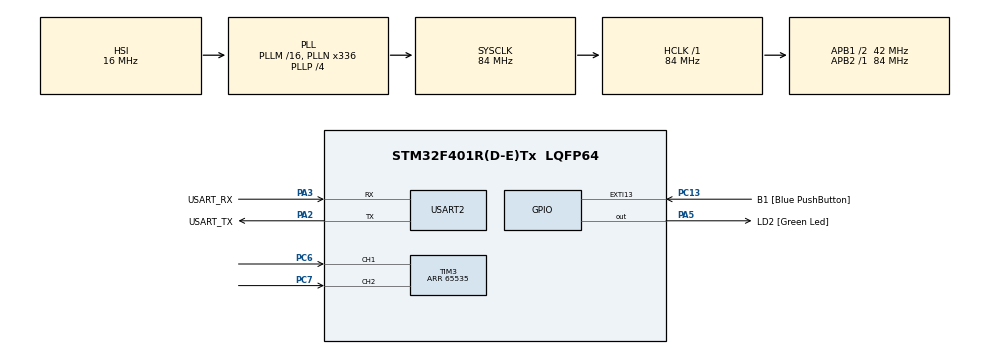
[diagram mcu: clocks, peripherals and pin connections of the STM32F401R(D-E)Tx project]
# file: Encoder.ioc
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Mcu.Family=STM32F4
Mcu.Name=STM32F401R(D-E)Tx
Mcu.Package=LQFP64
NVIC.PriorityGroup=NVIC_PRIORITYGROUP_0
NVIC.TIM3_IRQn=true\:0\:0\:false\:false\:true\:true\:true
PA13.GPIO_Label=TMS
PA13.Mode=Serial_Wire
PA13.Signal=SYS_JTMS-SWDIO
PA14.GPIO_Label=TCK
PA14.Mode=Serial_Wire
PA14.Signal=SYS_JTCK-SWCLK
PA2.GPIO_Label=USART_TX
PA2.GPIO_Mode=GPIO_MODE_AF_PP
PA2.GPIO_PuPd=GPIO_NOPULL
PA2.GPIO_Speed=GPIO_SPEED_FREQ_LOW
PA2.Mode=Asynchronous
PA2.Signal=USART2_TX
PA3.GPIO_Label=USART_RX
PA3.GPIO_Mode=GPIO_MODE_AF_PP
PA3.GPIO_PuPd=GPIO_NOPULL
PA3.GPIO_Speed=GPIO_SPEED_FREQ_LOW
PA3.Mode=Asynchronous
PA3.Signal=USART2_RX
PA5.GPIO_Label=LD2 [Green Led]
PA5.GPIO_Mode=GPIO_MODE_OUTPUT_PP
PA5.GPIO_PuPd=GPIO_NOPULL
PA5.GPIO_Speed=GPIO_SPEED_FREQ_LOW
PA5.Signal=GPIO_Output
PB3.GPIO_Label=SWO
PB3.Signal=SYS_JTDO-SWO
PC13-ANTI_TAMP.GPIO_Label=B1 [Blue PushButton]
PC13-ANTI_TAMP.GPIO_ModeDefaultEXTI=GPIO_MODE_IT_FALLING
PC13-ANTI_TAMP.GPIO_PuPd=GPIO_NOPULL
PC13-ANTI_TAMP.Signal=GPXTI13
PC14-OSC32_IN.Mode=LSE-External-Oscillator
PC14-OSC32_IN.Signal=RCC_OSC32_IN
PC15-OSC32_OUT.Mode=LSE-External-Oscillator
PC15-OSC32_OUT.Signal=RCC_OSC32_OUT
PC6.Signal=S_TIM3_CH1
PC7.Signal=S_TIM3_CH2
PH0\ -\ OSC_IN.Mode=HSE-External-Clock-Source
PH0\ -\ OSC_IN.Signal=RCC_OSC_IN
PH1\ -\ OSC_OUT.Mode=HSE-External-Clock-Source
PH1\ -\ OSC_OUT.Signal=RCC_OSC_OUT
ProjectManager.HeapSize=0x200
ProjectManager.StackSize=0x400
ProjectManager.TargetToolchain=STM32CubeIDE
RCC.48MHZClocksFreq_Value=48000000
RCC.AHBFreq_Value=84000000
RCC.APB1CLKDivider=RCC_HCLK_DIV2
RCC.APB1Freq_Value=42000000
RCC.APB1TimFreq_Value=84000000
RCC.APB2Freq_Value=84000000
RCC.APB2TimFreq_Value=84000000
RCC.CortexFreq_Value=84000000
RCC.HCLKFreq_Value=84000000
RCC.HSE_VALUE=8000000
RCC.HSI_VALUE=16000000
RCC.PLLN=336
RCC.PLLP=RCC_PLLP_DIV4
RCC.PLLQ=7
RCC.SYSCLKFreq_VALUE=84000000
RCC.SYSCLKSource=RCC_SYSCLKSOURCE_PLLCLK
RCC.VCOOutputFreq_Value=336000000
SH.S_TIM3_CH1.0=TIM3_CH1,Encoder_Interface
SH.S_TIM3_CH2.0=TIM3_CH2,Encoder_Interface
TIM3.ClockDivision=TIM_CLOCKDIVISION_DIV4
TIM3.IC1Filter=15
TIM3.IC1Polarity=TIM_ICPOLARITY_RISING
TIM3.IC2Filter=15
TIM3.IC2Polarity=TIM_ICPOLARITY_FALLING
TIM3.Period=65535
TIM3.TIM_MasterOutputTrigger=TIM_TRGO_RESET
USART2.VirtualMode=VM_ASYNC
board=NUCLEO-F401RE

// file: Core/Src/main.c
/* USER CODE BEGIN Header */
/**
 ******************************************************************************
 * @file           : main.c
 * @brief          : Main program body
 ******************************************************************************
 * @attention
 *
 * <h2><center>&copy; Copyright (c) 2021 STMicroelectronics.
 * All rights reserved.</center></h2>
 *
 * This software component is licensed by ST under BSD 3-Clause license,
 * the "License"; You may not use this file except in compliance with the
 * License. You may obtain a copy of the License at:
 *                        opensource.org/licenses/BSD-3-Clause
 *
 ******************************************************************************
 */
/* USER CODE END Header */
#include "main.h"

TIM_HandleTypeDef htim3;

UART_HandleTypeDef huart2;

void SystemClock_Config(void);
static void MX_GPIO_Init(void);
static void MX_USART2_UART_Init(void);
static void MX_TIM3_Init(void);

int main(void) {

	/* MCU Configuration--------------------------------------------------------*/

	/* Reset of all peripherals, Initializes the Flash interface and the Systick. */
	HAL_Init();

	/* Configure the system clock */
	SystemClock_Config();

	/* Initialize all configured peripherals */
	MX_GPIO_Init();
	MX_USART2_UART_Init();
	MX_TIM3_Init();
	/* USER CODE BEGIN 2 */
	HAL_TIM_Encoder_Start(&htim3, TIM_CHANNEL_ALL);
	/* USER CODE END 2 */

	/* Infinite loop */
	/* USER CODE BEGIN WHILE */
	char str[64];
	int prevPos = 0, pos = 0, delta;
	float rpm = 0;
	while (1) {
		pos = __HAL_TIM_GET_COUNTER(&htim3);
		delta = pos - prevPos;

		if (delta > 32768) {
			// underflow protection
			delta -= 65536;
		} else if (delta < -32768) {
			// overflow protection
			delta += 65536;
		}

		rpm = delta / 24.0 * 60.0;

		int len = sprintf(str, "rpm: %.3f\r\n", rpm);
		HAL_UART_Transmit(&huart2, str, len, 100);
		/* USER CODE END WHILE */

		/* USER CODE BEGIN 3 */
		prevPos = pos;
		HAL_Delay(1000);
	}
	/* USER CODE END 3 */
}

void SystemClock_Config(void) {
	RCC_OscInitTypeDef RCC_OscInitStruct = { 0 };
	RCC_ClkInitTypeDef RCC_ClkInitStruct = { 0 };

	/** Configure the main internal regulator output voltage
	 */
	__HAL_RCC_PWR_CLK_ENABLE();
	__HAL_PWR_VOLTAGESCALING_CONFIG(PWR_REGULATOR_VOLTAGE_SCALE2);
	/** Initializes the RCC Oscillators according to the specified parameters
	 * in the RCC_OscInitTypeDef structure.
	 */
	RCC_OscInitStruct.OscillatorType = RCC_OSCILLATORTYPE_HSI;
	RCC_OscInitStruct.HSIState = RCC_HSI_ON;
	RCC_OscInitStruct.HSICalibrationValue = RCC_HSICALIBRATION_DEFAULT;
	RCC_OscInitStruct.PLL.PLLState = RCC_PLL_ON;
	RCC_OscInitStruct.PLL.PLLSource = RCC_PLLSOURCE_HSI;
	RCC_OscInitStruct.PLL.PLLM = 16;
	RCC_OscInitStruct.PLL.PLLN = 336;
	RCC_OscInitStruct.PLL.PLLP = RCC_PLLP_DIV4;
	RCC_OscInitStruct.PLL.PLLQ = 7;
	if (HAL_RCC_OscConfig(&RCC_OscInitStruct) != HAL_OK) {
		Error_Handler();
	}
	/** Initializes the CPU, AHB and APB buses clocks
	 */
	RCC_ClkInitStruct.ClockType = RCC_CLOCKTYPE_HCLK | RCC_CLOCKTYPE_SYSCLK
			| RCC_CLOCKTYPE_PCLK1 | RCC_CLOCKTYPE_PCLK2;
	RCC_ClkInitStruct.SYSCLKSource = RCC_SYSCLKSOURCE_PLLCLK;
	RCC_ClkInitStruct.AHBCLKDivider = RCC_SYSCLK_DIV1;
	RCC_ClkInitStruct.APB1CLKDivider = RCC_HCLK_DIV2;
	RCC_ClkInitStruct.APB2CLKDivider = RCC_HCLK_DIV1;

	if (HAL_RCC_ClockConfig(&RCC_ClkInitStruct, FLASH_LATENCY_2) != HAL_OK) {
		Error_Handler();
	}
}

static void MX_TIM3_Init(void) {

	TIM_Encoder_InitTypeDef sConfig = { 0 };
	TIM_MasterConfigTypeDef sMasterConfig = { 0 };

	htim3.Instance = TIM3;
	htim3.Init.Prescaler = 0;
	htim3.Init.CounterMode = TIM_COUNTERMODE_UP;
	htim3.Init.Period = 65535;
	htim3.Init.ClockDivision = TIM_CLOCKDIVISION_DIV4;
	htim3.Init.AutoReloadPreload = TIM_AUTORELOAD_PRELOAD_DISABLE;
	sConfig.EncoderMode = TIM_ENCODERMODE_TI1;
	sConfig.IC1Polarity = TIM_ICPOLARITY_RISING;
	sConfig.IC1Selection = TIM_ICSELECTION_DIRECTTI;
	sConfig.IC1Prescaler = TIM_ICPSC_DIV1;
	sConfig.IC1Filter = 15;
	sConfig.IC2Polarity = TIM_ICPOLARITY_FALLING;
	sConfig.IC2Selection = TIM_ICSELECTION_DIRECTTI;
	sConfig.IC2Prescaler = TIM_ICPSC_DIV1;
	sConfig.IC2Filter = 15;
	if (HAL_TIM_Encoder_Init(&htim3, &sConfig) != HAL_OK) {
		Error_Handler();
	}
	sMasterConfig.MasterOutputTrigger = TIM_TRGO_RESET;
	sMasterConfig.MasterSlaveMode = TIM_MASTERSLAVEMODE_DISABLE;
	if (HAL_TIMEx_MasterConfigSynchronization(&htim3, &sMasterConfig)
			!= HAL_OK) {
		Error_Handler();
	}

}

static void MX_USART2_UART_Init(void) {

	huart2.Instance = USART2;
	huart2.Init.BaudRate = 115200;
	huart2.Init.WordLength = UART_WORDLENGTH_8B;
	huart2.Init.StopBits = UART_STOPBITS_1;
	huart2.Init.Parity = UART_PARITY_NONE;
	huart2.Init.Mode = UART_MODE_TX_RX;
	huart2.Init.HwFlowCtl = UART_HWCONTROL_NONE;
	huart2.Init.OverSampling = UART_OVERSAMPLING_16;
	if (HAL_UART_Init(&huart2) != HAL_OK) {
		Error_Handler();
	}

}

static void MX_GPIO_Init(void) {
	GPIO_InitTypeDef GPIO_InitStruct = { 0 };

	/* GPIO Ports Clock Enable */
	__HAL_RCC_GPIOC_CLK_ENABLE();
	__HAL_RCC_GPIOH_CLK_ENABLE();
	__HAL_RCC_GPIOA_CLK_ENABLE();
	__HAL_RCC_GPIOB_CLK_ENABLE();

	/*Configure GPIO pin Output Level */
	HAL_GPIO_WritePin(LD2_GPIO_Port, LD2_Pin, GPIO_PIN_RESET);

	/*Configure GPIO pin : B1_Pin */
	GPIO_InitStruct.Pin = B1_Pin;
	GPIO_InitStruct.Mode = GPIO_MODE_IT_FALLING;
	GPIO_InitStruct.Pull = GPIO_NOPULL;
	HAL_GPIO_Init(B1_GPIO_Port, &GPIO_InitStruct);

	/*Configure GPIO pin : LD2_Pin */
	GPIO_InitStruct.Pin = LD2_Pin;
	GPIO_InitStruct.Mode = GPIO_MODE_OUTPUT_PP;
	GPIO_InitStruct.Pull = GPIO_NOPULL;
	GPIO_InitStruct.Speed = GPIO_SPEED_FREQ_LOW;
	HAL_GPIO_Init(LD2_GPIO_Port, &GPIO_InitStruct);

}

void Error_Handler(void) {
	__disable_irq();
	while (1) {
	}
}

/************************ (C) COPYRIGHT STMicroelectronics *****END OF FILE****/
